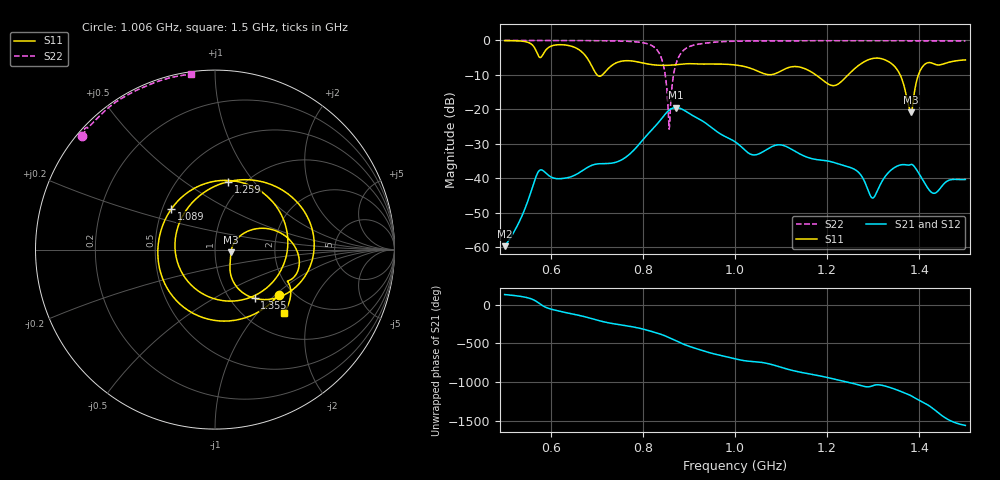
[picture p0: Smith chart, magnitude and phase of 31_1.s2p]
! TOUCHSTONE file generated by CST MICROWAVE STUDIO
! Date and time: Sat Nov 14 20:40:50 2020
! Project name: Scenario_1_Planar_Body_Tissue_Out_of_Line_v2.cst
! Parameters = {dy1=-173; L_HA=400; Ltissue=700; MT=2.54; Rad_Dielectric=30; Rad_Lower=7.3; Rad_Upper=30; Wtissue=700; a_HA=580; a_WG=246; b_HA=500; b_WG=121; c_HA=0; c_WG=187; d_feed=85; dx1=173; h_feed=15; h_lower=18; h_upper=40; hfat=3; hgap=25; hmuscle=50; hskin=1.5}
! Header version: 2018
! Port assignment regex: !\s*Touchstone port\s*([0-9]+)\s*=\s*(CST MWS port|CST DS port)\s*([0-9]+|Zmin|Zmax)\s*\(\"(.*)\"\)(\s*mode\s*([0-9]+))?.*
! Touchstone port assignment:
! Touchstone port 1 = CST MWS port 1 ("")
! Touchstone port 2 = CST MWS port 2 ("")
# GHz S DB R 50
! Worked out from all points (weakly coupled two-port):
!   1003 points, 500 MHz to 1.5 GHz, reference 50 ohm
!   highest |S21| = -19.51 dB at 872 MHz (marker M1); lowest = -59.8 dB at 500 MHz (marker M2)
!   lowest |S11| = -20.9 dB at 1.382 GHz (marker M3), VSWR 1.20, Z = 59.7 - j1.87 ohm
!   |S11| at or under -10 dB: 700.5 MHz to 712.2 MHz (11.72 MHz wide, 1.66 % of centre); 1.175 GHz to 1.246 GHz (70.11 MHz wide, 5.79 % of centre); 1.358 GHz to 1.398 GHz (39.7 MHz wide, 2.88 % of centre)
!   |S22| runs from -25.8 to 0.0 dB; largest |S21 - S12| = 1.6e-05
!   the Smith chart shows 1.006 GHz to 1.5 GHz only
!   S11 on the Smith chart (normalised r, x): 1.006 GHz: 1.70, -1.05; 1.089 GHz: 0.56, +0.28; 1.259 GHz: 0.85, +0.76; 1.355 GHz: 1.29, -0.80; 1.5 GHz: 1.43, -1.40
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0.5  -0.05 -121.7  -59.77 129.5  -59.77 129.5  -0.01 151.1
0.575  -4.81 -162.3  -37.85 15.8  -37.85 15.8  -0.02 146.0
0.628  -1.28 171.8  -40.07 -97.6  -40.07 -97.6  -0.03 141.9
0.667  -3.26 110.8  -37.99 -147.0  -37.99 -147.0  -0.04 138.4
0.694  -8.65 24.5  -36.07 169.9  -36.07 169.9  -0.06 135.5
0.719  -9.04 -98.0  -35.78 132.2  -35.78 132.2  -0.10 132.4
0.76  -5.91 163.9  -34.20 90.0  -34.20 90.0  -0.21 125.5
0.834  -7.20 23.1  -23.82 -13.9  -23.82 -13.9  -3.36 83.0
0.857  -7.21 -36.3  -20.28 -67.1  -20.28 -67.1  -25.80 -36.4
0.872  -7.06 -78.9  -19.51 -109.2  -19.51 -109.2  -6.80 -160.8
0.905  -6.76 -175.1  -21.58 171.9  -21.58 171.9  -1.58 164.5
0.94  -6.87 96.4  -24.38 106.3  -24.38 106.3  -0.72 151.7
1  -7.13 -23.9  -29.42 19.8  -29.42 19.8  -0.23 140.3
1.006  -7.23 -35.2  -30.01 11.4  -30.01 11.4  -0.21 139.5
1.089  -9.57 137.0  -30.41 -70.3  -30.41 -70.3  -0.14 130.7
1.167  -9.26 -45.4  -34.35 178.1  -34.35 178.1  -0.08 124.2
1.259  -8.28 79.1  -37.42 57.1  -37.42 57.1  -0.09 117.1
1.334  -6.21 -26.7  -38.24 13.2  -38.24 13.2  -0.09 111.6
1.355  -9.13 -50.9  -36.33 -30.6  -36.33 -30.6  -0.09 110.0
1.382  -20.93 -10.0  -36.03 -97.2  -36.03 -97.2  -0.09 107.9
1.411  -7.04 2.2  -41.33 169.2  -41.33 169.2  -0.09 105.5
1.5  -5.65 -42.9  -40.40 -121.7  -40.40 -121.7  -0.12 97.9
